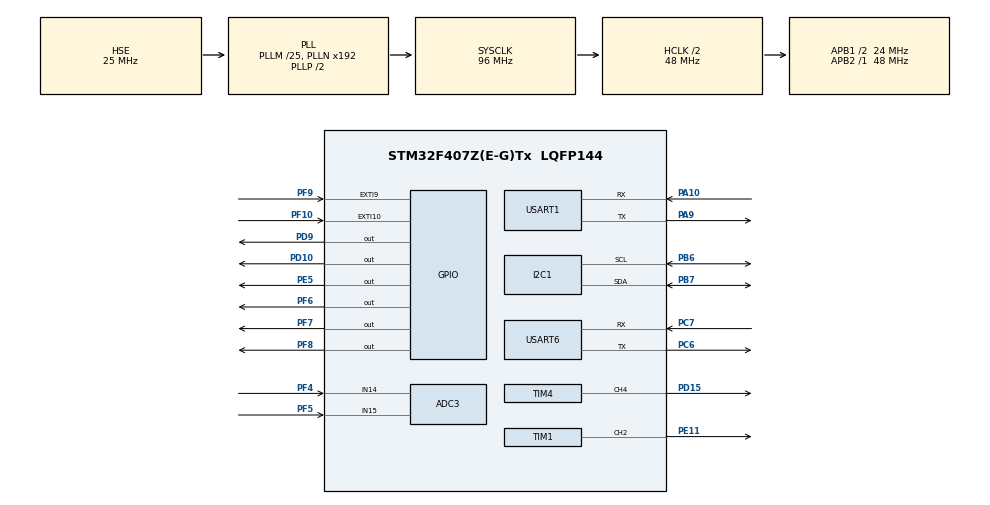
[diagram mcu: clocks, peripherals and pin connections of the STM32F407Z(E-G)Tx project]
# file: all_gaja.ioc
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ADC3.Channel-0\#ChannelRegularConversion=ADC_CHANNEL_14
ADC3.Channel-1\#ChannelRegularConversion=ADC_CHANNEL_15
ADC3.DiscontinuousConvMode=ENABLE
ADC3.NbrOfConversion=2
ADC3.NbrOfConversionFlag=1
ADC3.Rank-0\#ChannelRegularConversion=1
ADC3.Rank-1\#ChannelRegularConversion=2
ADC3.SamplingTime-0\#ChannelRegularConversion=ADC_SAMPLETIME_56CYCLES
ADC3.SamplingTime-1\#ChannelRegularConversion=ADC_SAMPLETIME_56CYCLES
ADC3.ScanConvMode=ENABLE
I2C1.I2C_Mode=I2C_Fast
Mcu.Family=STM32F4
Mcu.Name=STM32F407Z(E-G)Tx
Mcu.Package=LQFP144
NVIC.ADC_IRQn=true\:0\:0\:false\:false\:true\:true\:true
NVIC.EXTI15_10_IRQn=true\:0\:0\:false\:false\:true\:true\:true
NVIC.EXTI9_5_IRQn=true\:0\:0\:false\:false\:true\:true\:true
NVIC.I2C1_ER_IRQn=true\:0\:0\:false\:false\:true\:true\:true
NVIC.I2C1_EV_IRQn=true\:0\:0\:false\:false\:true\:true\:true
NVIC.PriorityGroup=NVIC_PRIORITYGROUP_4
NVIC.RCC_IRQn=true\:0\:0\:false\:false\:true\:true\:false
NVIC.TIM1_BRK_TIM9_IRQn=true\:0\:0\:false\:false\:true\:true\:true
NVIC.TIM1_CC_IRQn=true\:0\:0\:false\:false\:true\:true\:true
NVIC.TIM1_TRG_COM_TIM11_IRQn=true\:0\:0\:false\:false\:true\:true\:true
NVIC.TIM1_UP_TIM10_IRQn=true\:0\:0\:false\:false\:true\:true\:true
NVIC.TIM4_IRQn=true\:0\:0\:false\:false\:true\:true\:true
NVIC.USART1_IRQn=true\:0\:0\:false\:false\:true\:true\:true
NVIC.USART6_IRQn=true\:0\:0\:false\:false\:true\:true\:true
PA10.Mode=Asynchronous
PA10.Signal=USART1_RX
PA13.Mode=Serial_Wire
PA13.Signal=SYS_JTMS-SWDIO
PA14.Mode=Serial_Wire
PA14.Signal=SYS_JTCK-SWCLK
PA9.Mode=Asynchronous
PA9.Signal=USART1_TX
PB6.Mode=I2C
PB6.Signal=I2C1_SCL
PB7.Mode=I2C
PB7.Signal=I2C1_SDA
PC14-OSC32_IN.Mode=LSE-External-Oscillator
PC14-OSC32_IN.Signal=RCC_OSC32_IN
PC15-OSC32_OUT.Mode=LSE-External-Oscillator
PC15-OSC32_OUT.Signal=RCC_OSC32_OUT
PC6.Mode=Asynchronous
PC6.Signal=USART6_TX
PC7.Mode=Asynchronous
PC7.Signal=USART6_RX
PD10.Signal=GPIO_Output
PD15.Signal=S_TIM4_CH4
PD9.PinState=GPIO_PIN_RESET
PD9.Signal=GPIO_Output
PE11.Signal=S_TIM1_CH2
PE5.Signal=GPIO_Output
PF10.GPIO_PuPd=GPIO_PULLUP
PF10.Signal=GPXTI10
PF4.Mode=IN14
PF4.Signal=ADC3_IN14
PF5.Mode=IN15
PF5.Signal=ADC3_IN15
PF6.Signal=GPIO_Output
PF7.Signal=GPIO_Output
PF8.Signal=GPIO_Output
PF9.GPIO_ModeDefaultEXTI=GPIO_MODE_IT_RISING
PF9.GPIO_PuPd=GPIO_PULLUP
PF9.Signal=GPXTI9
PH0-OSC_IN.Mode=HSE-External-Oscillator
PH0-OSC_IN.Signal=RCC_OSC_IN
PH1-OSC_OUT.Mode=HSE-External-Oscillator
PH1-OSC_OUT.Signal=RCC_OSC_OUT
ProjectManager.HeapSize=0x200
ProjectManager.StackSize=0x400
ProjectManager.TargetToolchain=TrueSTUDIO
RCC.48MHZClocksFreq_Value=48000000
RCC.AHBCLKDivider=RCC_SYSCLK_DIV2
RCC.AHBFreq_Value=48000000
RCC.APB1CLKDivider=RCC_HCLK_DIV2
RCC.APB1Freq_Value=24000000
RCC.APB1TimFreq_Value=48000000
RCC.APB2Freq_Value=48000000
RCC.APB2TimFreq_Value=48000000
RCC.CortexFreq_Value=48000000
RCC.HCLKFreq_Value=48000000
RCC.HSE_VALUE=25000000
RCC.HSI_VALUE=16000000
RCC.PLLM=25
RCC.PLLSourceVirtual=RCC_PLLSOURCE_HSE
RCC.SYSCLKFreq_VALUE=96000000
RCC.SYSCLKSource=RCC_SYSCLKSOURCE_PLLCLK
RCC.VCOOutputFreq_Value=192000000
SH.S_TIM1_CH2.0=TIM1_CH2,PWM Generation2 CH2
SH.S_TIM4_CH4.0=TIM4_CH4,PWM Generation4 CH4
TIM1.AutoReloadPreload=TIM_AUTORELOAD_PRELOAD_ENABLE
TIM1.Channel-PWM\ Generation2\ CH2=TIM_CHANNEL_2
TIM1.Period=1000
TIM1.Prescaler=48
TIM4.AutoReloadPreload=TIM_AUTORELOAD_PRELOAD_ENABLE
TIM4.Channel-PWM\ Generation4\ CH4=TIM_CHANNEL_4
TIM4.Period=40000
TIM4.Prescaler=24
USART1.VirtualMode=VM_ASYNC
USART6.VirtualMode=VM_ASYNC
VP_TIM1_VS_ClockSourceINT.Mode=Internal
VP_TIM4_VS_ClockSourceINT.Mode=Internal
board=custom

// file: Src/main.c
/* USER CODE BEGIN Header */
/**
  ******************************************************************************
  * @file           : main.c
  * @brief          : Main program body
  ******************************************************************************
  * @attention
  *
  * <h2><center>&copy; Copyright (c) 2019 STMicroelectronics.
  * All rights reserved.</center></h2>
  *
  * This software component is licensed by ST under BSD 3-Clause license,
  * the "License"; You may not use this file except in compliance with the
  * License. You may obtain a copy of the License at:
  *                        opensource.org/licenses/BSD-3-Clause
  *
  ******************************************************************************
  */
/* USER CODE END Header */

#include "main.h"
#include "adc.h"
#include "i2c.h"
#include "tim.h"
#include "usart.h"
#include "gpio.h"

/* USER CODE BEGIN Includes */
#include "hcsr04.h"
#include "uart_test.h"

/* USER CODE END Includes */

/* USER CODE BEGIN PD */
#define FLAG 	0
#define ROLL	1
#define PITCH	2
/* USER CODE END PD */

/* USER CODE BEGIN PM */
#ifdef __GNUC__
/* With GCC/RAISONANCE, small printf (option LD Linker->Libraries->Small printf
   set to 'Yes') calls __io_putchar() */
#define PUTCHAR_PROTOTYPE int __io_putchar(int ch)
#else
#define PUTCHAR_PROTOTYPE int fputc(int ch, FILE *f)
#endif /* __GNUC__ */
/* USER CODE END PM */

/* USER CODE BEGIN PV */
uint8_t adcIndex=0;
uint16_t adcval[2];
TM_HCSR04_t hcsr04;
uint32_t hcsr04_distance;
int voice_key;
int i=0;
/* USER CODE END PV */

void SystemClock_Config(void);
/* USER CODE BEGIN PFP */
PUTCHAR_PROTOTYPE
{
    /* Place your implementation of fputc here */
    /* e.g. write a character to the Debug USART and Loop until the end of transmission */

    if('\n' == ch)
    {
        int ch_tmp = '\r';

        /* Place your implementation of fputc here */
        /* e.g. write a character to the EVAL_COM1 and Loop until the end of transmission */
        HAL_UART_Transmit(&huart1, (uint8_t *)&ch_tmp, 1, 0xFFFF);
    }

    /* Place your implementation of fputc here */
    /* e.g. write a character to the EVAL_COM1 and Loop until the end of transmission */
    HAL_UART_Transmit(&huart1, (uint8_t *)&ch, 1, 0xFFFF);

    return ch;
}

void HAL_ADC_ConvCpltCallback(ADC_HandleTypeDef* hadc)
{
  /* Prevent unused argument(s) compilation warning */

  /* NOTE : This function Should not be modified, when the callback is needed,
            the HAL_ADC_ConvCpltCallback could be implemented in the user file
   */
	if(adcIndex == 0)
	{adcval[adcIndex]=HAL_ADC_GetValue(&hadc3);}
	else if(adcIndex == 1)
	{
		adcval[1]=HAL_ADC_GetValue(&hadc3);
#if 1
		if((band_info[FLAG]!=1)&& (band_info[FLAG]!=2))
		{
			  if(hcsr04.Distance>=1)
			  {
				  HAL_GPIO_WritePin(GPIOD,GPIO_PIN_9,0);
			  }
			TIM4->CCR4=2600+(((uint16_t)adcval[0])/3);
			//printf("%d\n",((uint16_t)adcval[0])/3);
			if(adcval[1]<1900) //������
			{
				HAL_GPIO_WritePin(GPIOD,GPIO_PIN_10,1);
				TIM1->CCR2=600;
				  if(hcsr04.Distance<1)
				  {
					  HAL_GPIO_WritePin(GPIOD,GPIO_PIN_9,1);
				  }
			}
			else if(adcval[1]>2250) //�ڷ�
			{
				HAL_GPIO_WritePin(GPIOD,GPIO_PIN_10,0);
				HAL_GPIO_WritePin(GPIOD,GPIO_PIN_9,0);

				TIM1->CCR2=600;
			}
			else
			{
				TIM1->CCR2=0;
			}
			//printf("%d\n",adcval[1]);
			//printf("test\n");
		}
#endif
	}
	adcIndex++;
	if(adcIndex == 2)
	{
		adcIndex=0;

	}

	HAL_ADC_Start_IT(&hadc3);
}

void HAL_Delay1(uint32_t Delay)
{
  uint32_t tickstart1 = HAL_GetTick();

  /* Add a freq to guarantee minimum wait */

  while((HAL_GetTick() - tickstart1) < Delay)
  {
	  TM_HCSR04_Read(&hcsr04);
	  //printf("%f\n",hcsr04.Distance);
	  if((hcsr04.Distance<1) && (voice_key==1) )
	  {
		  HAL_GPIO_WritePin(GPIOD,GPIO_PIN_9,1);
	  	break;
	  }
  }
}

/* USER CODE END PFP */

int main(void)
{
  /* USER CODE BEGIN 1 */
	band_info[FLAG]=3;
	band_info[ROLL]=0;

  /* USER CODE END 1 */

  /* MCU Configuration--------------------------------------------------------*/

  /* Reset of all peripherals, Initializes the Flash interface and the Systick. */
  HAL_Init();

  /* Configure the system clock */
  SystemClock_Config();

  /* Initialize all configured peripherals */
  MX_GPIO_Init();
  MX_ADC3_Init();
  MX_I2C1_Init();
  MX_TIM1_Init();
  MX_TIM4_Init();
  MX_USART1_UART_Init();
  MX_USART6_UART_Init();
  /* USER CODE BEGIN 2 */
  HAL_TIM_PWM_Start(&htim1,TIM_CHANNEL_2);
  HAL_TIM_PWM_Start_IT(&htim1,TIM_CHANNEL_2);
  HAL_TIM_PWM_Start(&htim4,TIM_CHANNEL_4);
  HAL_TIM_PWM_Start_IT(&htim4,TIM_CHANNEL_4);
  HAL_GPIO_WritePin(GPIOD,GPIO_PIN_9,0);
  HAL_GPIO_WritePin(GPIOE, GPIO_PIN_5, GPIO_PIN_SET);
  if(HAL_UART_Receive_IT(&huart1, g_Uart_RxBuffer, UART_RXBUFFERSIZE) != HAL_OK)
  {
      Error_Handler();
  }

  if(HAL_UART_Receive_IT(&huart6, g_Uart_6_Com_RxBuffer, UART_RXBUFFERSIZE) != HAL_OK)
  {
      Error_Handler();
  }

  TIM4->CCR4=3250;

  HAL_ADC_Start_IT(&hadc3);

  printf("Start\n");

	if(TM_HCSR04_Init(&hcsr04, GPIOE,GPIO_PIN_15, GPIOE,GPIO_PIN_14 )!=1)
	{
		printf("hc error!\r\n");
	}

    printf("printf test\n");
    HAL_UART_Transmit(&huart6, (uint8_t *)"test", strlen("test"), 0xFFFF);
  /* USER CODE END 2 */

  /* Infinite loop */
  /* USER CODE BEGIN WHILE */
  while (1)
  {
	  UART6_Test();
	  TM_HCSR04_Read(&hcsr04);
	  //printf("%f\n",hcsr04.Distance);
#if 1
	  if(hcsr04.Distance>=1)
	  {
		  HAL_GPIO_WritePin(GPIOD,GPIO_PIN_9,0);
	  }
#endif
	  if(band_info[FLAG]==1)
	  {
		  UART6_Test();
		  if(band_info[PITCH]>15)
			  //if(band_info[PITCH]>25)
		  {
			  TIM4->CCR4=3250+((int16_t)band_info[PITCH]*15*-1);
			  //TIM1->CCR2=500;
			  HAL_GPIO_WritePin(GPIOF,GPIO_PIN_6,1);
			  //HAL_GPIO_WritePin(GPIOD,GPIO_PIN_10,0);
		  }
		  else if(band_info[PITCH]<-15)
			  //if(band_info[PITCH]<-25)
		  {
			  TIM4->CCR4=3250+((int16_t)band_info[PITCH]*15*-1);
			  //TIM1->CCR2= 500;
			  HAL_GPIO_WritePin(GPIOF,GPIO_PIN_6,0);
			  //HAL_GPIO_WritePin(GPIOD,GPIO_PIN_10,1);
		  }
		  else
		  {
			  TIM4->CCR4=3250;
			  HAL_GPIO_WritePin(GPIOF, GPIO_PIN_7, GPIO_PIN_SET);
		  }
		  //else if(IMU.Pitch>=20 && IMU.Pitch<=-20)
		  UART6_Test();
		  if(band_info[ROLL] <150 && band_info[ROLL]>90)
			  //if(band_info[ROLL]<150 && band_info[ROLL]>90)
		  {
			  HAL_GPIO_WritePin(GPIOD,GPIO_PIN_10,1);
			  HAL_GPIO_WritePin(GPIOD,GPIO_PIN_9,0);
			  TIM1->CCR2=400;
			  if(hcsr04.Distance<1)
			  {
				  HAL_GPIO_WritePin(GPIOD,GPIO_PIN_9,1);
			  }

			  HAL_GPIO_WritePin(GPIOF,GPIO_PIN_7,1);

		  }
		  //if(band_info[ROLL]>-150 && band_info[ROLL]<-90)
		  else if(band_info[ROLL] > -150 && band_info[ROLL] <-90)
		  {
			  HAL_GPIO_WritePin(GPIOD,GPIO_PIN_10,0);
			  HAL_GPIO_WritePin(GPIOD,GPIO_PIN_9,0);
			  TIM1->CCR2= 400;
			  HAL_GPIO_WritePin(GPIOF,GPIO_PIN_7,0);

		  }
		  else
		  {
			  TIM1->CCR2=0;
			  HAL_GPIO_WritePin(GPIOD,GPIO_PIN_9,1);
		  }

	  }

	  else if(band_info[FLAG]==2)
	  {
		  TIM1->CCR2=0;
		  voice_key=band_info[ROLL];
		  if(voice_key==1)
		  {
			  TIM4->CCR4=3250;
			  HAL_GPIO_WritePin(GPIOD,GPIO_PIN_9,0);
			  HAL_GPIO_WritePin(GPIOD,GPIO_PIN_10,1);
			  TIM1->CCR2=400;
			  HAL_Delay1(3000);
//			  if(hcsr04.Distance<1)
//			  {
//				  HAL_GPIO_WritePin(GPIOD,GPIO_PIN_9,1);
//			  }
			  HAL_GPIO_WritePin(GPIOD,GPIO_PIN_9,1);
			  band_info[ROLL]=5;
		  }
		  else if(voice_key==2)
		  {
			  TIM4->CCR4=3250;
			  HAL_GPIO_WritePin(GPIOD,GPIO_PIN_9,0);
			  HAL_GPIO_WritePin(GPIOD,GPIO_PIN_10,0);
			  TIM1->CCR2=500;
			   HAL_Delay(2300);
			  HAL_GPIO_WritePin(GPIOD,GPIO_PIN_9,1);
			  band_info[ROLL]=5;
		  }
		  else if(voice_key==3)
		  {
			  TIM4->CCR4=3250+880;
			  HAL_GPIO_WritePin(GPIOD,GPIO_PIN_9,0);
			  HAL_GPIO_WritePin(GPIOD,GPIO_PIN_10,1);
			  TIM1->CCR2=550;
			  HAL_Delay1(2200);
			  HAL_GPIO_WritePin(GPIOD,GPIO_PIN_9,1);
			  TIM4->CCR4=3250;
			  HAL_GPIO_WritePin(GPIOD,GPIO_PIN_9,0);
			  HAL_Delay1(1000);
			  HAL_GPIO_WritePin(GPIOD,GPIO_PIN_9,1);
			  band_info[ROLL]=5;

		  }
		  else if(voice_key==4)
		  {
			  TIM4->CCR4=3250-880;
			  HAL_GPIO_WritePin(GPIOD,GPIO_PIN_9,0);
			  HAL_GPIO_WritePin(GPIOD,GPIO_PIN_10,1);
			  TIM1->CCR2=550;
			  HAL_Delay1(2200);
			  HAL_GPIO_WritePin(GPIOD,GPIO_PIN_9,1);
			  TIM4->CCR4=3250;
			  HAL_GPIO_WritePin(GPIOD,GPIO_PIN_9,0);
			  HAL_Delay1(1000);
			  HAL_GPIO_WritePin(GPIOD,GPIO_PIN_9,1);
			  band_info[ROLL]=5;

		  }
		  else if(voice_key==5)
		  {
			  TIM1->CCR2=0;
			  HAL_GPIO_WritePin(GPIOD,GPIO_PIN_9,1);
			  band_info[FLAG]=3;

		  }

	  }
	  //printf("0: %d ,1: %d , %f \n",adcval[0],adcval[1],hcsr04.Distance);
	  //printf("%f\n",hcsr04.Distance);
    /* USER CODE END WHILE */

  }
}

void SystemClock_Config(void)
{
  RCC_OscInitTypeDef RCC_OscInitStruct = {0};
  RCC_ClkInitTypeDef RCC_ClkInitStruct = {0};

  /** Configure the main internal regulator output voltage
  */
  __HAL_RCC_PWR_CLK_ENABLE();
  __HAL_PWR_VOLTAGESCALING_CONFIG(PWR_REGULATOR_VOLTAGE_SCALE1);
  /** Initializes the CPU, AHB and APB busses clocks
  */
  RCC_OscInitStruct.OscillatorType = RCC_OSCILLATORTYPE_HSE;
  RCC_OscInitStruct.HSEState = RCC_HSE_ON;
  RCC_OscInitStruct.PLL.PLLState = RCC_PLL_ON;
  RCC_OscInitStruct.PLL.PLLSource = RCC_PLLSOURCE_HSE;
  RCC_OscInitStruct.PLL.PLLM = 25;
  RCC_OscInitStruct.PLL.PLLN = 192;
  RCC_OscInitStruct.PLL.PLLP = RCC_PLLP_DIV2;
  RCC_OscInitStruct.PLL.PLLQ = 4;
  if (HAL_RCC_OscConfig(&RCC_OscInitStruct) != HAL_OK)
  {
    Error_Handler();
  }
  /** Initializes the CPU, AHB and APB busses clocks
  */
  RCC_ClkInitStruct.ClockType = RCC_CLOCKTYPE_HCLK|RCC_CLOCKTYPE_SYSCLK
                              |RCC_CLOCKTYPE_PCLK1|RCC_CLOCKTYPE_PCLK2;
  RCC_ClkInitStruct.SYSCLKSource = RCC_SYSCLKSOURCE_PLLCLK;
  RCC_ClkInitStruct.AHBCLKDivider = RCC_SYSCLK_DIV2;
  RCC_ClkInitStruct.APB1CLKDivider = RCC_HCLK_DIV2;
  RCC_ClkInitStruct.APB2CLKDivider = RCC_HCLK_DIV1;

  if (HAL_RCC_ClockConfig(&RCC_ClkInitStruct, FLASH_LATENCY_1) != HAL_OK)
  {
    Error_Handler();
  }
}

void Error_Handler(void)
{
}

/************************ (C) COPYRIGHT STMicroelectronics *****END OF FILE****/
